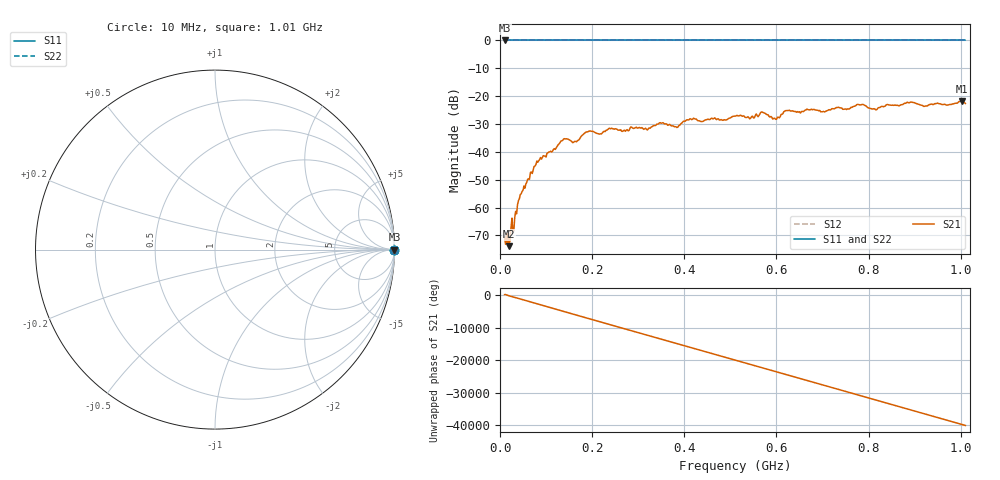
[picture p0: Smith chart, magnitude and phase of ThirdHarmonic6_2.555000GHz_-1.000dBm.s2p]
! 8/17/2025 5:15:03 AM
! C:\ANRITSUVNA\TEMP\TEMP.S2P
! CHANNEL.1
! TR.MEASUREMENT
! RAW.DATA
! RF.CORRECTION.OFF
! AVERAGING.OFF
! IF.BANDWIDTH: 5KHZ
! SWEEPTYPE:  FREQ.SWEEP(Linear)
! Reference Plane Port Info
! PORT:  PORT1  PORT2
! DISTANCE:  0  m  0  m
! TIME:  0  s  0  s
! PHASE.OFFSET:  0  deg.  0  deg.
! LOSS:  0  dB  0  dB
! REF.LOSS:  0  dB  0  dB
! REF.FREQ:  0  Hz  0  Hz
! Power Info
! POWER:  -20  dBm  -20  dBm
! EFF.POWER:  -20  dBm  -20  dBm
! SOURCE.ATTEN:  0  dB  0  dB
! TEST.ATTEN:  0  dB  0  dB
# GHZ S RI R 50.0
! FREQ.GHZ  S11RE  S11IM  S21RE  S21IM  S12RE  S12IM  S22RE  S22IM
!; PortSelection: Port_12
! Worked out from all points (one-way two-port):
!   501 points, 10 MHz to 1.01 GHz, reference 50 ohm
!   highest |S21| = -21.80 dB at 1.002 GHz (marker M1); lowest = -73.8 dB at 20 MHz (marker M2)
!   lowest |S11| = 0.0 dB at 10 MHz (marker M3)
!   |S11| at or under -10 dB: nowhere
!   |S22| runs from 0.0 to 0.0 dB; largest |S21 - S12| = 1.1
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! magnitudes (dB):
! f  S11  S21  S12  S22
! 10 MHz  0.0  -70.5  0.0  0.0
! 20 MHz  0.0  -73.8  0.0  0.0
! 32 MHz  0.0  -63.6  0.0  0.0
! 44 MHz  0.0  -55.3  0.0  0.0
! 78 MHz  0.0  -44.5  0.0  0.0
! 136 MHz  0.0  -35.9  0.0  0.0
! 162 MHz  0.0  -36.2  0.0  0.0
! 178 MHz  0.0  -34.1  0.0  0.0
! 240 MHz  0.0  -31.7  0.0  0.0
! 322 MHz  0.0  -31.7  0.0  0.0
! 344 MHz  0.0  -29.9  0.0  0.0
! 382 MHz  0.0  -31.0  0.0  0.0
! 410 MHz  0.0  -28.5  0.0  0.0
! 510 MHz  0.0  -27.2  0.0  0.0
! 546 MHz  0.0  -27.3  0.0  0.0
! 570 MHz  0.0  -25.8  0.0  0.0
! 596 MHz  0.0  -27.9  0.0  0.0
! 622 MHz  0.0  -25.2  0.0  0.0
! 678 MHz  0.0  -24.9  0.0  0.0
! 844 MHz  0.0  -23.2  0.0  0.0
! 1.002 GHz  0.0  -21.8  0.0  0.0
! 1.01 GHz  0.0  -22.6  0.0  0.0
